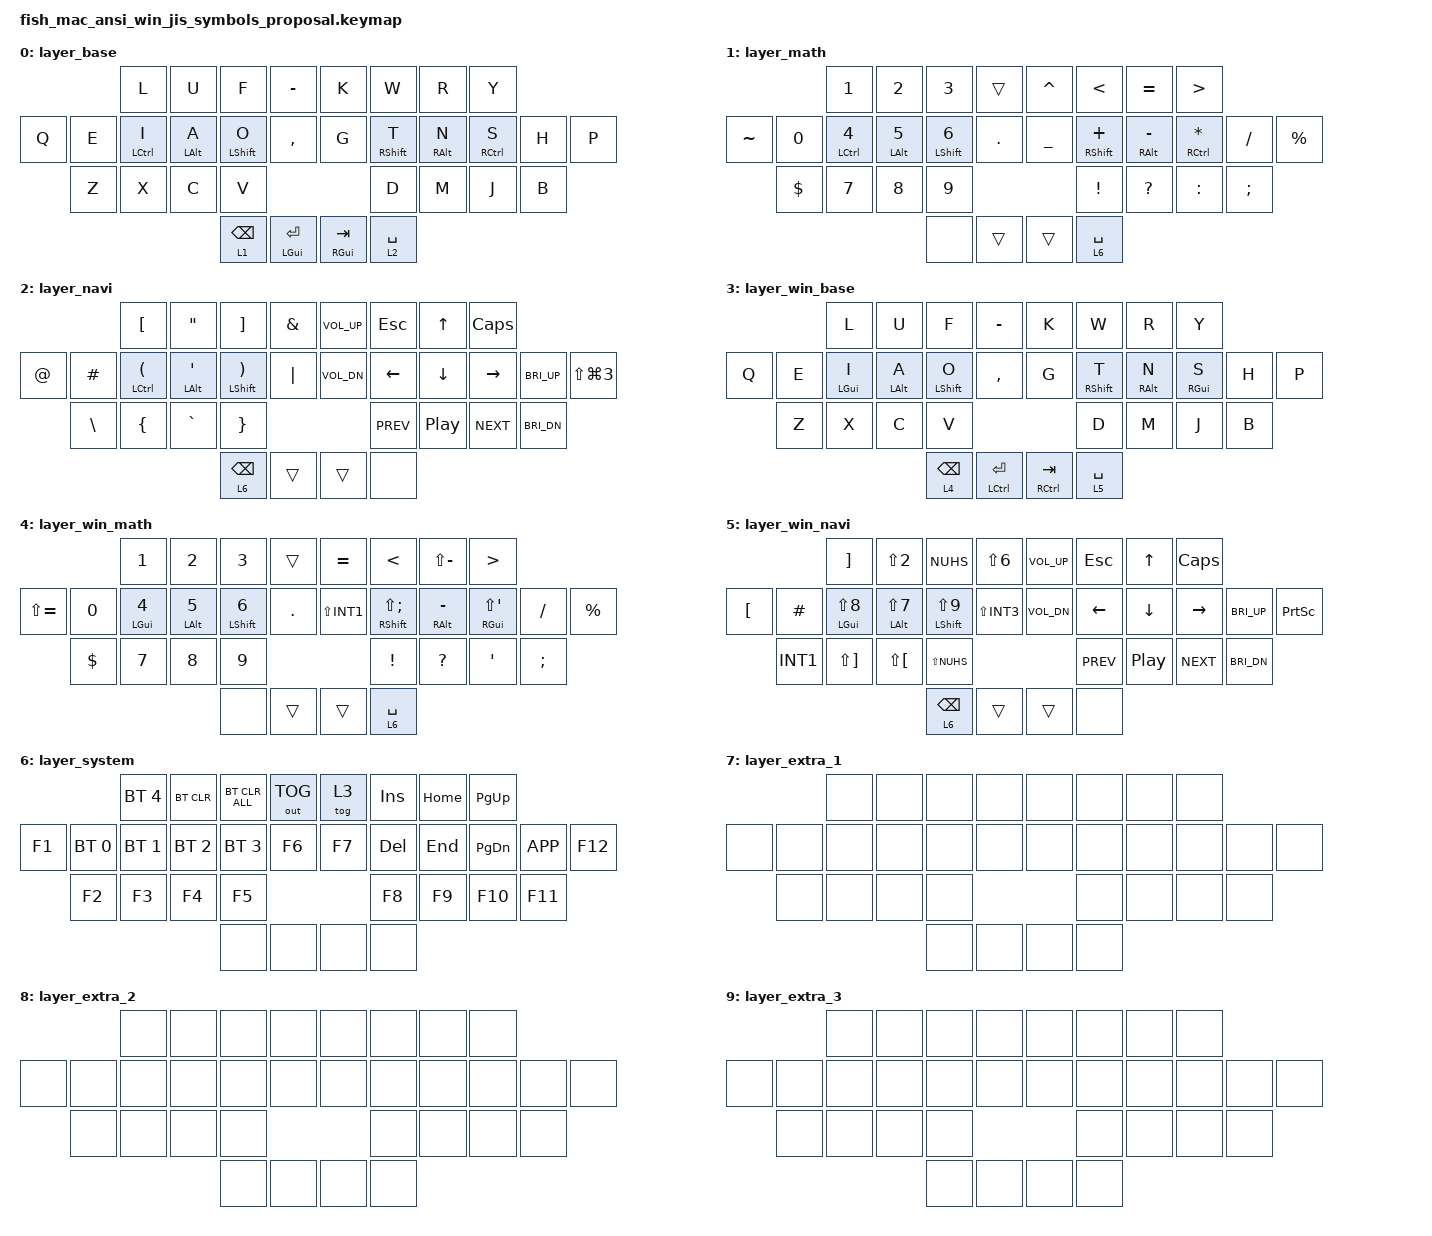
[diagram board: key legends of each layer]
// 提案キーマップ（大西配列、Mac優先、ANSI方式）
// 目的:
// - Mac は現状の使用感を維持する
// - Win/Mac 切替で Windows 側だけ記号を JIS 向けに補正する
// - 優先するのは修飾キーより記号の出力を Mac に寄せること
//
// 注意:
// - fish.keymap は変更していない
// - このファイルは提案用の別案
// - Windows JIS でズレやすい記号を keycode_japanese.h ベースで補正している
// - 実機確認の優先対象は `@`, `[`, `]`, `{`, `}`, `~`, `` ` ``, `\`, `|`
//
// キーマップを更新する方法は https://o24.works/fish/guide を参照
// 視覚的に編集するには https://o24.works/fish/editor を参照


// 定義を呼んでくる
#include <behaviors.dtsi>
#include <dt-bindings/zmk/keys.h>
#include <dt-bindings/zmk/mouse.h>
#include <dt-bindings/zmk/bt.h>
#include <dt-bindings/zmk/outputs.h>
#include <dt-bindings/zmk/pointing.h>


// 特殊入力の挙動を調整できる

&mt {
    flavor = "tap-preferred";
    tapping-term-ms = <225>;
    quick-tap-ms = <200>;
    require-prior-idle-ms = <150>;
};

&lt {
    flavor = "balanced";
    tapping-term-ms = <175>;
    quick-tap-ms = <200>;
};

&sk {
};

&sl {
};

&caps_word {
};

&key_repeat {
};


/ {
    behaviors {
    };

    macros {
    };

    conditional_layers {
    };

    combos {
        compatible = "zmk,combos";
        timeout-ms = <100>;
        require-prior-idle-ms = <150>;

        combo_lang2 {
            key-positions = <1 2>;
            bindings = <&kp LANG2>;
        };

        combo_lang1 {
            key-positions = <5 6>;
            bindings = <&kp LANG1>;
        };

        combo_reset_L {
            key-positions = <3 8 13>;
            bindings = <&bootloader>;
        };

        combo_reset_R {
            key-positions = <4 14 19>;
            bindings = <&bootloader>;
        };

        combo_studio_unlock {
            key-positions = <20 21 22 23>;
            bindings = <&studio_unlock>;
        };
    };

    keymap {
        compatible = "zmk,keymap";

        layer_base {
            bindings = <
                        &kp L       &kp U       &kp F       &kp MINUS           &kp K       &kp W       &kp R       &kp Y
&kp Q       &kp E       &mt LCTRL I &mt LALT A  &mt LSHFT O &kp COMMA           &kp G       &mt RSHFT T &mt RALT N  &mt RCTRL S &kp H       &kp P
            &kp Z       &kp X       &kp C       &kp V                                       &kp D       &kp M       &kp J       &kp B
                                                &lt 1 BSPC  &mt LGUI RET        &mt RGUI TAB &lt 2 SPACE
            >;
        };

        layer_math {
            bindings = <
                        &kp N1      &kp N2      &kp N3      &trans              &kp CARET   &kp LT      &kp EQUAL   &kp GT
&kp TILDE   &kp N0      &mt LCTRL N4 &mt LALT N5 &mt LSHFT N6 &kp DOT           &kp UNDER   &mt RSHFT PLUS &mt RALT MINUS &mt RCTRL STAR &kp FSLH &kp PRCNT
            &kp DLLR    &kp N7      &kp N8      &kp N9                                      &kp EXCL    &kp QMARK   &kp COLON   &kp SEMI
                                                &none       &trans              &trans      &lt 6 SPACE
            >;
        };

        layer_navi {
            bindings = <
                        &kp LBKT    &kp DQT     &kp RBKT    &kp AMPS            &kp C_VOL_UP &kp ESC    &kp UP      &kp CAPS
&kp AT      &kp HASH    &mt LCTRL LPAR &mt LALT SQT &mt LSHFT RPAR &kp PIPE     &kp C_VOL_DN &kp LEFT   &kp DOWN    &kp RIGHT   &kp C_BRI_UP &kp LS(LG(N3))
            &kp BSLH    &kp LBRC    &kp GRAVE   &kp RBRC                                    &kp C_PREV  &kp C_PP    &kp C_NEXT  &kp C_BRI_DN
                                                &lt 6 BSPC  &trans              &trans      &none
            >;
        };

        layer_win_base {
            bindings = <
                        &kp L       &kp U       &kp F       &kp MINUS           &kp K       &kp W       &kp R       &kp Y
&kp Q       &kp E       &mt LGUI I  &mt LALT A  &mt LSHFT O &kp COMMA           &kp G       &mt RSHFT T &mt RALT N  &mt RGUI S  &kp H       &kp P
            &kp Z       &kp X       &kp C       &kp V                                       &kp D       &kp M       &kp J       &kp B
                                                &lt 4 BSPC  &mt LCTRL RET       &mt RCTRL TAB &lt 5 SPACE
            >;
        };

        // Windows JIS で Mac 側の記号位置に寄せる試作版
        // 参考: keycode_japanese.h
        layer_win_math {
            bindings = <
                        &kp N1      &kp N2      &kp N3      &trans              &kp EQUAL   &kp LT      &kp LS(MINUS) &kp GT
&kp LS(EQUAL) &kp N0    &mt LGUI N4 &mt LALT N5 &mt LSHFT N6 &kp DOT            &kp LS(INT1) &mt RSHFT LS(SEMI) &mt RALT MINUS &mt RGUI LS(SQT) &kp FSLH &kp PRCNT
            &kp DLLR    &kp N7      &kp N8      &kp N9                                      &kp EXCL    &kp QMARK   &kp SQT     &kp SEMI
                                                &none       &trans              &trans      &lt 6 SPACE
            >;
        };

        // Windows JIS でズレやすい `@`, `[`, `]`, `{`, `}`, `\`, `|`, `` ` `` を補正する試作版
        // 参考: keycode_japanese.h
        layer_win_navi {
            bindings = <
                        &kp RBKT    &kp LS(N2)  &kp NUHS    &kp LS(N6)          &kp C_VOL_UP &kp ESC    &kp UP      &kp CAPS
&kp LBKT    &kp HASH    &mt LGUI LS(N8) &mt LALT LS(N7) &mt LSHFT LS(N9) &kp LS(INT3) &kp C_VOL_DN &kp LEFT   &kp DOWN    &kp RIGHT   &kp C_BRI_UP &kp PSCRN
            &kp INT1    &kp LS(RBKT) &kp LS(LBKT) &kp LS(NUHS)                                &kp C_PREV  &kp C_PP    &kp C_NEXT  &kp C_BRI_DN
                                                &lt 6 BSPC  &trans              &trans      &none
            >;
        };

        layer_system {
            bindings = <
                        &bt BT_SEL 4 &bt BT_CLR &bt BT_CLR_ALL &out OUT_TOG     &tog 3      &kp INS     &kp HOME    &kp PG_UP
&kp F1      &bt BT_SEL 0 &bt BT_SEL 1 &bt BT_SEL 2 &bt BT_SEL 3 &kp F6          &kp F7      &kp DEL     &kp END     &kp PG_DN   &kp K_APP   &kp F12
            &kp F2      &kp F3      &kp F4      &kp F5                                      &kp F8      &kp F9      &kp F10     &kp F11
                                                &none       &none               &none       &none
            >;
        };

        layer_extra_1 {
            bindings = <
                        &none       &none       &none       &none               &none       &none       &none       &none
&none       &none       &none       &none       &none       &none               &none       &none       &none       &none       &none       &none
            &none       &none       &none       &none                                       &none       &none       &none       &none
                                                &none       &none               &none       &none
            >;
        };

        layer_extra_2 {
            bindings = <
                        &none       &none       &none       &none               &none       &none       &none       &none
&none       &none       &none       &none       &none       &none               &none       &none       &none       &none       &none       &none
            &none       &none       &none       &none                                       &none       &none       &none       &none
                                                &none       &none               &none       &none
            >;
        };

        layer_extra_3 {
            bindings = <
                        &none       &none       &none       &none               &none       &none       &none       &none
&none       &none       &none       &none       &none       &none               &none       &none       &none       &none       &none       &none
            &none       &none       &none       &none                                       &none       &none       &none       &none
                                                &none       &none               &none       &none
            >;
        };
    };
};
